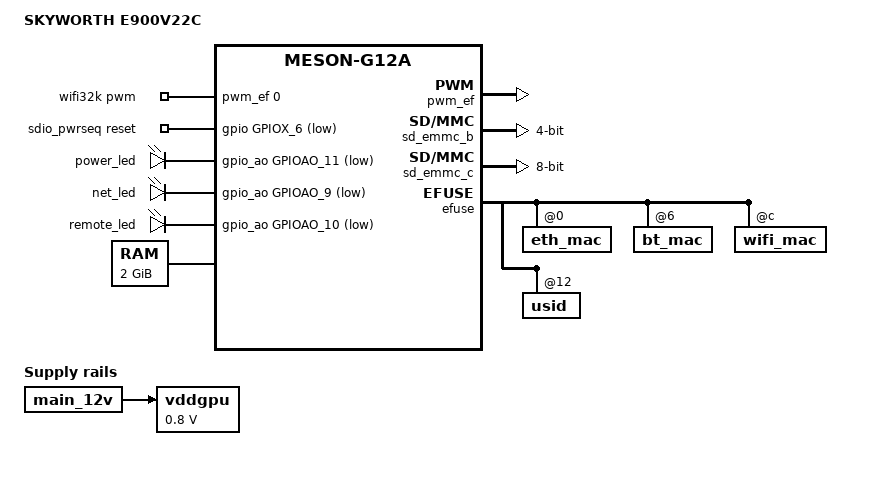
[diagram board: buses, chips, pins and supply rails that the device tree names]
// SPDX-License-Identifier: (GPL-2.0+ OR MIT)
/*
 * Copyright (c) 2018 Amlogic, Inc. All rights reserved.
 * Create by flippy
 */

/dts-v1/;

#include "meson-g12a-u200.dts"

/ {
	compatible = "skyworth,e900v22c", "amlogic,g12a";
	model = "SKYWORTH E900V22C";

	vddgpu: regulator-vddgpu {
		compatible = "regulator-fixed";
		regulator-name = "mali";
		regulator-min-microvolt = <800000>;
		regulator-max-microvolt = <800000>;
		vin-supply = <&main_12v>;
		regulator-boot-on;
		regulator-always-on;
	};

	wifi32k: wifi32k {
		compatible = "pwm-clock";
		#clock-cells = <0>;
		clock-frequency = <32768>;
		pwms = <&pwm_ef 0 30518 0>; /* PWM_E at 32.768KHz */
	};

	sdio_pwrseq: sdio-pwrseq {
		compatible = "mmc-pwrseq-simple";
		reset-gpios = <&gpio GPIOX_6 GPIO_ACTIVE_LOW>;
		clocks = <&wifi32k>;
		clock-names = "ext_clock";
		post-power-on-delay-ms = <100>;
	};

	leds {
		compatible = "gpio-leds";
		
		power_led {
			led_name = "power_led";
                        gpios = <&gpio_ao GPIOAO_11 GPIO_ACTIVE_LOW>;
			default-state = "on";
		};

		net_led {
			led_name = "net_led";
                        gpios = <&gpio_ao GPIOAO_9 GPIO_ACTIVE_LOW>;
			default-state = "off";
			linux,default-trigger = "0.0:00:link";
		};

		remote_led {
			led_name = "remote_led";
                        gpios = <&gpio_ao GPIOAO_10 GPIO_ACTIVE_LOW>;
			default-state = "off";
			linux,default-trigger = "rc-feedback";
		};

	};

	memory@0 {
		device_type = "memory";
		reg = <0x0 0x0 0x0 0x80000000>;
	};
};

&mali {
	mali-supply=<&vddgpu>;
};


&pwm_ef {
	status = "okay";
	pinctrl-0 = <&pwm_e_pins>;
	pinctrl-names = "default";
};

/* SDIO */
&sd_emmc_a {
	/* enable if WiFi/BT board connected */
	/delete-property/ sd-uhs-sdr104;
	status = "disabled";
	pinctrl-0 = <&sdio_pins>;
	pinctrl-1 = <&sdio_clk_gate_pins>;
	pinctrl-names = "default", "clk-gate";
	#address-cells = <1>;
	#size-cells = <0>;

	bus-width = <4>;
	sd-uhs-sdr12;
	sd-uhs-sdr25;
	sd-uhs-sdr50;
	max-frequency = <50000000>;

	non-removable;
	disable-wp;

	/* WiFi firmware requires power in suspend */
	keep-power-in-suspend;

	mmc-pwrseq = <&sdio_pwrseq>;

	vmmc-supply = <&vddao_3v3>;
	vqmmc-supply = <&vddao_1v8>;

	rtl8822cs: wifi@1 {
		reg = <1>;
	};
};



/* SD card */
&sd_emmc_b {
	status = "okay";
	bus-width = <4>;
	cap-sd-highspeed;
	max-frequency = <50000000>;
};

/* eMMC */
&sd_emmc_c {
	status = "okay";
	bus-width = <8>;
	cap-mmc-highspeed;
	mmc-ddr-1_8v;
	mmc-hs200-1_8v;
	max-frequency = <100000000>;
};

/* CPU Overclock */
&cpu_opp_table {
	opp-100000000 {
		status = "disabled";
	};

	opp-250000000 {
		status = "disabled";
	};

	opp-500000000 {
		status = "disabled";
	};

	opp-667000000 {
		status = "disabled";
	};

	opp-1908000000 {
		opp-hz = /bits/ 64 <1908000000>;
		opp-microvolt = <1001000>;
	};

	/* 2016mhz :  not test */
	//opp-2016000000 {
	//		opp-hz = /bits/ 64 <2016000000>;
	//		opp-microvolt = <1021000>;
	//};
};

&efuse {
	eth_mac: eth_mac@0 {
		reg = <0x0 0x06>;
	};

	bt_mac: bt_mac@6 {
		reg = <0x6 0x6>;
	};

	wifi_mac: wifi_mac@c {
		reg = <0xc 0x6>;
	};

	usid: usid@18 {
		reg = <0x12 0x10>;
	};
};
